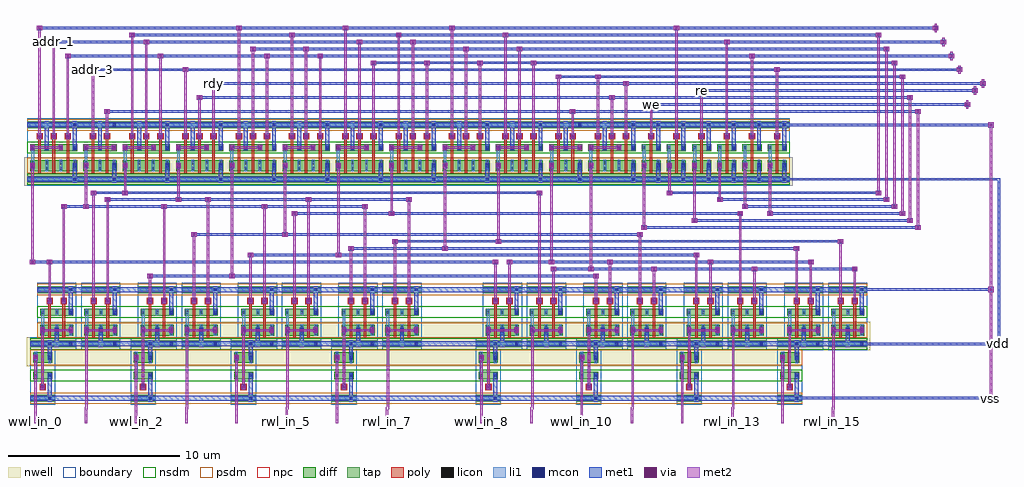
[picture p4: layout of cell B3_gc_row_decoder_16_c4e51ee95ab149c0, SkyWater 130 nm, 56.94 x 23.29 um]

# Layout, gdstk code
from math import pi, radians
import gdstk
lib = gdstk.Library(unit=1e-6, precision=1e-09)
def R(c, l, rs):  # rectangles x0, y0, x1, y1
    for r in rs: c.add(gdstk.rectangle(r[:2], r[2:], *l))
def A(c, l, x, y, w, h, nx, ny, dx, dy):  # array of equal rectangles
    R(c, l, [(x+i*dx, y+j*dy, x+i*dx+w, y+j*dy+h) for i in range(nx) for j in range(ny)])
nwell = (64, 20)
diff = (65, 20)
tap = (65, 44)
poly = (66, 20)
licon = (66, 44)
li1 = (67, 20)
mcon = (67, 44)
met1 = (68, 20)
via = (68, 44)
met2 = (69, 20)
nsdm = (93, 44)
psdm = (94, 20)
npc = (95, 20)
boundary = (235, 4)

b3_gc_std_inv_6575c8c08e = lib.new_cell('B3_gc_std_inv_6575c8c08eee_t_core')
R(b3_gc_std_inv_6575c8c08e, nwell, [(0,-0.18,1.68,1.29)])
R(b3_gc_std_inv_6575c8c08e, diff, [(0.86,0,1.5,1.11), (2.02,0,2.44,1.11)])
R(b3_gc_std_inv_6575c8c08e, tap, [(0.18,-0.18,0.59,1.29), (3.35,-0.18,3.76,1.29)])
R(b3_gc_std_inv_6575c8c08e, poly, [(2.73,0.39,3.06,0.72), (0.73,0.48,1.63,0.63), (0.86,0.48,2.895,0.63), (1.89,0.48,2.57,0.63)])
R(b3_gc_std_inv_6575c8c08e, licon, [(0.3,0.06,0.47,0.23), (0.925,0.06,1.095,0.23), (1.265,0.06,1.435,0.23), (2.145,0.06,2.315,0.23), (3.47,0.06,3.64,0.23), (2.81,0.47,2.98,0.64), (0.925,0.88,1.095,1.05), (1.265,0.88,1.435,1.05), (2.145,0.88,2.315,1.05)])
R(b3_gc_std_inv_6575c8c08e, li1, [(0.3,-0.18,0.47,1.29), (3.47,-0.18,3.64,1.29), (0.845,0.06,1.515,0.23), (2.065,0.06,2.395,0.23), (2.73,0.47,3.06,0.64), (2.73,0.47,3.06,0.64), (0.845,0.88,2.395,1.05), (0.845,0.88,1.515,1.05), (1.015,0.88,1.345,1.05), (2.065,0.88,2.395,1.05)])
R(b3_gc_std_inv_6575c8c08e, mcon, [(0.3,0.06,0.47,0.23), (1.095,0.06,1.265,0.23), (2.145,0.06,2.315,0.23), (3.47,0.06,3.64,0.23), (2.81,0.47,2.98,0.64), (1.095,0.88,1.265,1.05)])
R(b3_gc_std_inv_6575c8c08e, met1, [(0.24,-0.18,0.53,1.29), (3.41,-0.18,3.7,1.29), (0.24,0,0.53,0.29), (3.41,0,3.7,0.29), (0.18,0.03,1.325,0.26), (1.035,0.03,1.325,0.26), (2.085,0.03,3.76,0.26), (2.085,0.03,2.375,0.26), (2.735,0.425,3.055,0.685), (1.02,0.835,1.34,1.095)])
R(b3_gc_std_inv_6575c8c08e, via, [(2.82,0.48,2.97,0.63), (1.105,0.89,1.255,1.04)])
R(b3_gc_std_inv_6575c8c08e, met2, [(2.735,0.425,3.055,0.685), (1.02,0.835,1.34,1.095)])
R(b3_gc_std_inv_6575c8c08e, nsdm, [(0.055,-0.18,0.715,1.29), (1.895,-0.18,2.565,1.29)])
R(b3_gc_std_inv_6575c8c08e, psdm, [(0.735,-0.18,1.625,1.29), (3.225,-0.18,3.885,1.29)])
R(b3_gc_std_inv_6575c8c08e, npc, [(2.71,0.37,3.08,0.74)])
R(b3_gc_std_inv_6575c8c08e, boundary, [(0,-0.18,3.94,1.29)])
b3_gc_std_inv_6575c8c08e.add(gdstk.Label('vss', (3.555,0.145), layer=68, texttype=5))
b3_gc_std_inv_6575c8c08e.add(gdstk.Label('vdd', (0.385,0.145), layer=68, texttype=5))
b3_gc_std_inv_6575c8c08e.add(gdstk.Label('a', (2.895,0.555), layer=69, texttype=5))
b3_gc_std_inv_6575c8c08e.add(gdstk.Label('y', (1.18,0.965), layer=69, texttype=5))

c_b3_gc_std_inv_6575c8c08e = lib.new_cell('B3_gc_std_inv_6575c8c08eee_t')
c_b3_gc_std_inv_6575c8c08e.add(gdstk.Reference(b3_gc_std_inv_6575c8c08e, (1.29,0), rotation=pi/2))

b3_gc_std_nor2_6575c8c08 = lib.new_cell('B3_gc_std_nor2_6575c8c08eee_t_core')
R(b3_gc_std_nor2_6575c8c08, nwell, [(0,-0.18,1.68,2.11)])
R(b3_gc_std_nor2_6575c8c08, diff, [(0.86,0,1.5,1.93), (2.02,0,2.44,1.93)])
R(b3_gc_std_nor2_6575c8c08, tap, [(0.18,-0.18,0.59,2.11), (3.35,-0.18,3.76,2.11)])
R(b3_gc_std_nor2_6575c8c08, poly, [(2.73,0.39,3.06,0.72), (0.73,0.48,1.63,0.63), (0.86,0.48,2.895,0.63), (1.89,0.48,2.57,0.63), (2.73,1.21,3.06,1.54), (0.73,1.3,1.63,1.45), (0.86,1.3,2.895,1.45), (1.89,1.3,2.57,1.45)])
A(b3_gc_std_nor2_6575c8c08, licon, 0.925, 0.06, 0.17, 0.17, 1, 3, 0, 0.82)
A(b3_gc_std_nor2_6575c8c08, licon, 1.265, 0.06, 0.17, 0.17, 1, 3, 0, 0.82)
A(b3_gc_std_nor2_6575c8c08, licon, 2.145, 0.06, 0.17, 0.17, 1, 3, 0, 0.82)
R(b3_gc_std_nor2_6575c8c08, licon, [(0.3,0.06,0.47,0.23), (3.47,0.06,3.64,0.23), (2.81,0.47,2.98,0.64), (2.81,1.29,2.98,1.46)])
A(b3_gc_std_nor2_6575c8c08, li1, 0.845, 0.06, 0.67, 0.17, 1, 3, 0, 0.82)
A(b3_gc_std_nor2_6575c8c08, li1, 2.065, 0.06, 0.33, 0.17, 1, 3, 0, 0.82)
R(b3_gc_std_nor2_6575c8c08, li1, [(0.3,-0.18,0.47,2.11), (3.47,-0.18,3.64,2.11), (2.065,0.06,2.395,0.23), (2.73,0.47,3.06,0.64), (2.73,0.47,3.06,0.64), (2.73,1.29,3.06,1.46), (2.73,1.29,3.06,1.46), (0.845,1.7,2.395,1.87), (1.015,1.7,1.345,1.87), (2.065,1.7,2.395,1.87)])
A(b3_gc_std_nor2_6575c8c08, mcon, 2.145, 0.06, 0.17, 0.17, 1, 3, 0, 0.82)
R(b3_gc_std_nor2_6575c8c08, mcon, [(0.3,0.06,0.47,0.23), (1.095,0.06,1.265,0.23), (3.47,0.06,3.64,0.23), (2.81,0.47,2.98,0.64), (2.81,1.29,2.98,1.46), (1.095,1.7,1.265,1.87)])
R(b3_gc_std_nor2_6575c8c08, met1, [(0.24,-0.18,0.53,2.11), (3.41,-0.18,3.7,2.11), (0.24,0,0.53,0.29), (3.41,0,3.7,0.29), (2.07,0.015,2.39,0.275), (0.18,0.03,1.325,0.26), (1.035,0.03,1.325,0.26), (2.735,0.425,3.055,0.685), (2.085,0.85,3.76,1.08), (2.085,0.85,2.375,1.08), (2.735,1.245,3.055,1.505), (1.02,1.655,1.34,1.915), (2.07,1.655,2.39,1.915)])
R(b3_gc_std_nor2_6575c8c08, via, [(2.155,0.07,2.305,0.22), (2.82,0.48,2.97,0.63), (2.82,1.3,2.97,1.45), (1.105,1.71,1.255,1.86), (2.155,1.71,2.305,1.86)])
R(b3_gc_std_nor2_6575c8c08, met2, [(2.07,0.015,2.39,0.275), (2.16,0.145,2.3,1.785), (2.735,0.425,3.055,0.685), (2.735,1.245,3.055,1.505), (1.02,1.655,1.34,1.915), (2.07,1.655,2.39,1.915)])
R(b3_gc_std_nor2_6575c8c08, nsdm, [(0.055,-0.18,0.715,2.11), (1.895,-0.18,2.565,2.11)])
R(b3_gc_std_nor2_6575c8c08, psdm, [(0.735,-0.18,1.625,2.11), (3.225,-0.18,3.885,2.11)])
R(b3_gc_std_nor2_6575c8c08, npc, [(2.71,0.37,3.08,0.74), (2.71,1.19,3.08,1.56)])
R(b3_gc_std_nor2_6575c8c08, boundary, [(0,-0.18,3.94,2.11)])
b3_gc_std_nor2_6575c8c08.add(gdstk.Label('vss', (3.555,0.145), layer=68, texttype=5))
b3_gc_std_nor2_6575c8c08.add(gdstk.Label('vdd', (0.385,0.145), layer=68, texttype=5))
b3_gc_std_nor2_6575c8c08.add(gdstk.Label('a', (2.895,1.375), layer=69, texttype=5))
b3_gc_std_nor2_6575c8c08.add(gdstk.Label('b', (2.895,0.555), layer=69, texttype=5))
b3_gc_std_nor2_6575c8c08.add(gdstk.Label('y', (1.18,1.785), layer=69, texttype=5))

c_b3_gc_std_nor2_6575c8c08 = lib.new_cell('B3_gc_std_nor2_6575c8c08eee_t')
c_b3_gc_std_nor2_6575c8c08.add(gdstk.Reference(b3_gc_std_nor2_6575c8c08, (2.11,0), rotation=pi/2))

b3_gc_std_nor3_6575c8c08 = lib.new_cell('B3_gc_std_nor3_6575c8c08eee_t_core')
R(b3_gc_std_nor3_6575c8c08, nwell, [(0,-0.18,1.68,2.93)])
R(b3_gc_std_nor3_6575c8c08, diff, [(0.86,0,1.5,2.75), (2.02,0,2.44,2.75)])
R(b3_gc_std_nor3_6575c8c08, tap, [(0.18,-0.18,0.59,2.93), (3.35,-0.18,3.76,2.93)])
A(b3_gc_std_nor3_6575c8c08, poly, 2.73, 0.39, 0.33, 0.33, 1, 3, 0, 0.82)
A(b3_gc_std_nor3_6575c8c08, poly, 0.73, 0.48, 0.9, 0.15, 1, 3, 0, 0.82)
A(b3_gc_std_nor3_6575c8c08, poly, 0.86, 0.48, 2.035, 0.15, 1, 3, 0, 0.82)
A(b3_gc_std_nor3_6575c8c08, poly, 1.89, 0.48, 0.68, 0.15, 1, 3, 0, 0.82)
A(b3_gc_std_nor3_6575c8c08, licon, 0.925, 0.06, 0.17, 0.17, 1, 4, 0, 0.82)
A(b3_gc_std_nor3_6575c8c08, licon, 1.265, 0.06, 0.17, 0.17, 1, 4, 0, 0.82)
A(b3_gc_std_nor3_6575c8c08, licon, 2.145, 0.06, 0.17, 0.17, 1, 4, 0, 0.82)
A(b3_gc_std_nor3_6575c8c08, licon, 2.81, 0.47, 0.17, 0.17, 1, 3, 0, 0.82)
R(b3_gc_std_nor3_6575c8c08, licon, [(0.3,0.06,0.47,0.23), (3.47,0.06,3.64,0.23)])
A(b3_gc_std_nor3_6575c8c08, li1, 0.845, 0.06, 0.67, 0.17, 1, 4, 0, 0.82)
A(b3_gc_std_nor3_6575c8c08, li1, 2.065, 0.88, 0.33, 0.17, 1, 3, 0, 0.82)
R(b3_gc_std_nor3_6575c8c08, li1, [(0.3,-0.18,0.47,2.93), (3.47,-0.18,3.64,2.93), (2.065,0.06,2.395,0.23), (2.73,0.47,3.06,0.64), (2.73,0.47,3.06,0.64), (2.065,0.88,2.395,1.05), (2.73,1.29,3.06,1.46), (2.73,1.29,3.06,1.46), (2.73,2.11,3.06,2.28), (2.73,2.11,3.06,2.28), (0.845,2.52,2.395,2.69), (1.015,2.52,1.345,2.69), (2.065,2.52,2.395,2.69)])
A(b3_gc_std_nor3_6575c8c08, mcon, 2.145, 0.06, 0.17, 0.17, 1, 4, 0, 0.82)
A(b3_gc_std_nor3_6575c8c08, mcon, 2.81, 0.47, 0.17, 0.17, 1, 3, 0, 0.82)
R(b3_gc_std_nor3_6575c8c08, mcon, [(0.3,0.06,0.47,0.23), (1.095,0.06,1.265,0.23), (3.47,0.06,3.64,0.23), (1.095,2.52,1.265,2.69)])
A(b3_gc_std_nor3_6575c8c08, met1, 2.735, 0.425, 0.32, 0.26, 1, 3, 0, 0.82)
R(b3_gc_std_nor3_6575c8c08, met1, [(0.24,-0.18,0.53,2.93), (3.41,-0.18,3.7,2.93), (0.24,0,0.53,0.29), (3.41,0,3.7,0.29), (0.18,0.03,1.325,0.26), (1.035,0.03,1.325,0.26), (2.085,0.03,3.76,0.26), (2.085,0.03,2.375,0.26), (2.07,0.835,2.39,1.095), (2.085,1.67,3.76,1.9), (2.085,1.67,2.375,1.9), (1.02,2.475,1.34,2.735), (2.07,2.475,2.39,2.735)])
A(b3_gc_std_nor3_6575c8c08, via, 2.82, 0.48, 0.15, 0.15, 1, 3, 0, 0.82)
R(b3_gc_std_nor3_6575c8c08, via, [(2.155,0.89,2.305,1.04), (1.105,2.53,1.255,2.68), (2.155,2.53,2.305,2.68)])
A(b3_gc_std_nor3_6575c8c08, met2, 2.735, 0.425, 0.32, 0.26, 1, 3, 0, 0.82)
R(b3_gc_std_nor3_6575c8c08, met2, [(2.07,0.835,2.39,1.095), (2.16,0.965,2.3,2.605), (1.02,2.475,1.34,2.735), (2.07,2.475,2.39,2.735)])
R(b3_gc_std_nor3_6575c8c08, nsdm, [(0.055,-0.18,0.715,2.93), (1.895,-0.18,2.565,2.93)])
R(b3_gc_std_nor3_6575c8c08, psdm, [(0.735,-0.18,1.625,2.93), (3.225,-0.18,3.885,2.93)])
A(b3_gc_std_nor3_6575c8c08, npc, 2.71, 0.37, 0.37, 0.37, 1, 3, 0, 0.82)
R(b3_gc_std_nor3_6575c8c08, boundary, [(0,-0.18,3.94,2.93)])
b3_gc_std_nor3_6575c8c08.add(gdstk.Label('vss', (3.555,0.145), layer=68, texttype=5))
b3_gc_std_nor3_6575c8c08.add(gdstk.Label('vdd', (0.385,0.145), layer=68, texttype=5))
b3_gc_std_nor3_6575c8c08.add(gdstk.Label('a', (2.895,2.195), layer=69, texttype=5))
b3_gc_std_nor3_6575c8c08.add(gdstk.Label('c', (2.895,0.555), layer=69, texttype=5))
b3_gc_std_nor3_6575c8c08.add(gdstk.Label('b', (2.895,1.375), layer=69, texttype=5))
b3_gc_std_nor3_6575c8c08.add(gdstk.Label('y', (1.18,2.605), layer=69, texttype=5))

c_b3_gc_std_nor3_6575c8c08 = lib.new_cell('B3_gc_std_nor3_6575c8c08eee_t')
c_b3_gc_std_nor3_6575c8c08.add(gdstk.Reference(b3_gc_std_nor3_6575c8c08, (2.93,0), rotation=pi/2))

b3_gc_std_nand2_6575c8c0 = lib.new_cell('B3_gc_std_nand2_6575c8c08eee_t_core')
R(b3_gc_std_nand2_6575c8c0, nwell, [(0,-0.18,1.68,2.11)])
R(b3_gc_std_nand2_6575c8c0, diff, [(0.86,0,1.5,1.93), (2.02,0,2.44,1.93)])
R(b3_gc_std_nand2_6575c8c0, tap, [(0.18,-0.18,0.59,2.11), (3.35,-0.18,3.76,2.11)])
R(b3_gc_std_nand2_6575c8c0, poly, [(2.73,0.39,3.06,0.72), (0.73,0.48,1.63,0.63), (0.86,0.48,2.895,0.63), (1.89,0.48,2.57,0.63), (2.73,1.21,3.06,1.54), (0.73,1.3,1.63,1.45), (0.86,1.3,2.895,1.45), (1.89,1.3,2.57,1.45)])
A(b3_gc_std_nand2_6575c8c0, licon, 0.925, 0.06, 0.17, 0.17, 1, 3, 0, 0.82)
A(b3_gc_std_nand2_6575c8c0, licon, 1.265, 0.06, 0.17, 0.17, 1, 3, 0, 0.82)
A(b3_gc_std_nand2_6575c8c0, licon, 2.145, 0.06, 0.17, 0.17, 1, 3, 0, 0.82)
R(b3_gc_std_nand2_6575c8c0, licon, [(0.3,0.06,0.47,0.23), (3.47,0.06,3.64,0.23), (2.81,0.47,2.98,0.64), (2.81,1.29,2.98,1.46)])
A(b3_gc_std_nand2_6575c8c0, li1, 0.845, 0.06, 0.67, 0.17, 1, 3, 0, 0.82)
A(b3_gc_std_nand2_6575c8c0, li1, 2.065, 0.06, 0.33, 0.17, 1, 3, 0, 0.82)
R(b3_gc_std_nand2_6575c8c0, li1, [(0.3,-0.18,0.47,2.11), (3.47,-0.18,3.64,2.11), (1.015,0.06,1.345,0.23), (2.73,0.47,3.06,0.64), (2.73,0.47,3.06,0.64), (2.73,1.29,3.06,1.46), (2.73,1.29,3.06,1.46), (0.845,1.7,2.395,1.87), (1.015,1.7,1.345,1.87)])
A(b3_gc_std_nand2_6575c8c0, mcon, 1.095, 0.06, 0.17, 0.17, 1, 3, 0, 0.82)
R(b3_gc_std_nand2_6575c8c0, mcon, [(0.3,0.06,0.47,0.23), (2.145,0.06,2.315,0.23), (3.47,0.06,3.64,0.23), (2.81,0.47,2.98,0.64), (2.81,1.29,2.98,1.46)])
R(b3_gc_std_nand2_6575c8c0, met1, [(0.24,-0.18,0.53,2.11), (3.41,-0.18,3.7,2.11), (0.24,0,0.53,0.29), (3.41,0,3.7,0.29), (1.02,0.015,1.34,0.275), (2.085,0.03,3.76,0.26), (2.085,0.03,2.375,0.26), (2.735,0.425,3.055,0.685), (0.18,0.85,1.325,1.08), (1.035,0.85,1.325,1.08), (2.735,1.245,3.055,1.505), (1.02,1.655,1.34,1.915)])
R(b3_gc_std_nand2_6575c8c0, via, [(1.105,0.07,1.255,0.22), (2.82,0.48,2.97,0.63), (2.82,1.3,2.97,1.45), (1.105,1.71,1.255,1.86)])
R(b3_gc_std_nand2_6575c8c0, met2, [(1.02,0.015,1.34,0.275), (1.11,0.145,1.25,1.785), (2.735,0.425,3.055,0.685), (2.735,1.245,3.055,1.505), (1.02,1.655,1.34,1.915)])
R(b3_gc_std_nand2_6575c8c0, nsdm, [(0.055,-0.18,0.715,2.11), (1.895,-0.18,2.565,2.11)])
R(b3_gc_std_nand2_6575c8c0, psdm, [(0.735,-0.18,1.625,2.11), (3.225,-0.18,3.885,2.11)])
R(b3_gc_std_nand2_6575c8c0, npc, [(2.71,0.37,3.08,0.74), (2.71,1.19,3.08,1.56)])
R(b3_gc_std_nand2_6575c8c0, boundary, [(0,-0.18,3.94,2.11)])
b3_gc_std_nand2_6575c8c0.add(gdstk.Label('vss', (3.555,0.145), layer=68, texttype=5))
b3_gc_std_nand2_6575c8c0.add(gdstk.Label('vdd', (0.385,0.145), layer=68, texttype=5))
b3_gc_std_nand2_6575c8c0.add(gdstk.Label('a', (2.895,1.375), layer=69, texttype=5))
b3_gc_std_nand2_6575c8c0.add(gdstk.Label('b', (2.895,0.555), layer=69, texttype=5))
b3_gc_std_nand2_6575c8c0.add(gdstk.Label('y', (1.18,1.785), layer=69, texttype=5))

c_b3_gc_std_nand2_6575c8c0 = lib.new_cell('B3_gc_std_nand2_6575c8c08eee_t')
c_b3_gc_std_nand2_6575c8c0.add(gdstk.Reference(b3_gc_std_nand2_6575c8c0, (2.11,0), rotation=pi/2))

b3_gc_row_decoder_16_c4e = lib.new_cell('B3_gc_row_decoder_16_c4e51ee95ab149c0')
A(b3_gc_row_decoder_16_c4e, nwell, 1.645, 2.66, 4.39, 1.68, 3, 1, 5.86, 0)
A(b3_gc_row_decoder_16_c4e, nwell, 27.65, 2.66, 4.39, 1.68, 3, 1, 5.86, 0)
A(b3_gc_row_decoder_16_c4e, nwell, 2.875, 3.57, 0.275, 1.68, 4, 1, 5.86, 0)
A(b3_gc_row_decoder_16_c4e, nwell, 5.44, 3.57, 1.005, 1.68, 3, 1, 5.86, 0)
A(b3_gc_row_decoder_16_c4e, nwell, 28.88, 3.57, 0.275, 1.68, 4, 1, 5.86, 0)
A(b3_gc_row_decoder_16_c4e, nwell, 31.445, 3.57, 1.005, 1.68, 3, 1, 5.86, 0)
R(b3_gc_row_decoder_16_c4e, nwell, [(-0.005,2.66,0.175,4.34), (19.225,2.66,26.18,4.34), (23.02,3.57,26.59,5.25), (49.025,3.57,49.205,5.25), (-0.18,13.175,0,14.855), (44.5,13.175,44.68,14.855)])
A(b3_gc_row_decoder_16_c4e, met1, 1.545, 0.64, 4.59, 0.29, 3, 2, 5.86, 3.17)
A(b3_gc_row_decoder_16_c4e, met1, 27.55, 0.64, 4.59, 0.29, 3, 2, 5.86, 3.17)
A(b3_gc_row_decoder_16_c4e, met1, 2.775, 3.81, 0.475, 0.29, 4, 2, 5.86, 3.17)
A(b3_gc_row_decoder_16_c4e, met1, 5.34, 3.81, 1.205, 0.29, 3, 2, 5.86, 3.17)
A(b3_gc_row_decoder_16_c4e, met1, 28.78, 3.81, 0.475, 0.29, 4, 2, 5.86, 3.17)
A(b3_gc_row_decoder_16_c4e, met1, 31.345, 3.81, 1.205, 0.29, 3, 2, 5.86, 3.17)
A(b3_gc_row_decoder_16_c4e, met1, 36.41, 8.19, 0.32, 0.26, 3, 1, 5.86, 0)
A(b3_gc_row_decoder_16_c4e, met1, 33.845, 8.59, 0.32, 0.26, 3, 1, 5.86, 0)
A(b3_gc_row_decoder_16_c4e, met1, 7.84, 11.835, 0.32, 0.26, 3, 1, 5.86, 0)
A(b3_gc_row_decoder_16_c4e, met1, 10.405, 12.24, 0.32, 0.26, 3, 1, 5.86, 0)
A(b3_gc_row_decoder_16_c4e, met1, 20.055, 20.225, 0.32, 0.26, 4, 1, 3.11, 0)
A(b3_gc_row_decoder_16_c4e, met1, 15.305, 21.84, 0.32, 0.26, 3, 1, 6.22, 0)
A(b3_gc_row_decoder_16_c4e, met1, 12.195, 22.25, 0.32, 0.26, 3, 1, 6.22, 0)
R(b3_gc_row_decoder_16_c4e, met1, [(56.075,0.625,56.395,0.945), (19.125,0.64,26.28,0.93), (44.73,0.715,56.235,0.855), (19.125,3.81,26.28,4.1), (22.92,3.81,26.69,4.1), (44.73,3.885,56.765,4.025), (48.525,3.885,56.765,4.025), (56.625,3.885,56.765,13.63), (56.075,6.965,56.395,7.285), (22.92,6.98,26.69,7.27), (48.525,7.055,56.235,7.195), (7.02,7.785,7.34,8.045), (11.785,7.785,12.105,8.045), (33.025,7.785,33.345,8.045), (7.02,7.845,33.345,7.985), (30.55,8.19,30.87,8.45), (32.735,8.19,33.055,8.45), (30.55,8.25,48.45,8.39), (0.165,8.59,0.485,8.85), (1.16,8.59,1.48,8.85), (27.165,8.59,27.485,8.85), (27.985,8.59,28.305,8.85), (30.445,8.59,30.765,8.85), (0.165,8.65,27.485,8.79), (27.985,8.65,45.885,8.79), (12.88,9,13.2,9.26), (18.005,9,18.325,9.26), (38.885,9,39.205,9.26), (12.88,9.06,39.205,9.2), (18.74,9.4,19.06,9.66), (24.225,9.4,24.545,9.66), (44.745,9.4,45.065,9.66), (18.74,9.46,45.065,9.6), (21.305,9.81,21.625,10.07), (27.335,9.81,27.655,10.07), (47.31,9.81,47.63,10.07), (21.305,9.87,47.63,10.01), (9.585,10.21,9.905,10.47), (14.895,10.21,15.215,10.47), (35.59,10.21,35.91,10.47), (9.585,10.27,35.91,10.41), (35.845,10.62,36.165,10.88), (51.825,10.62,52.145,10.88), (35.845,10.68,52.145,10.82), (38.785,11.025,39.105,11.285), (51.365,11.025,51.685,11.285), (38.785,11.085,51.685,11.225), (15.445,11.43,15.765,11.69), (21.115,11.43,21.435,11.69), (41.45,11.43,41.77,11.69), (43.195,11.43,43.515,11.69), (50.905,11.43,51.225,11.69), (15.445,11.49,41.77,11.63), (43.195,11.49,51.225,11.63), (1.98,11.835,2.3,12.095), (3.275,11.835,3.595,12.095), (41.725,11.835,42.045,12.095), (50.445,11.835,50.765,12.095), (1.98,11.895,19.88,12.035), (41.725,11.895,50.765,12.035), (4.545,12.24,4.865,12.5), (8.675,12.24,8.995,12.5), (40.255,12.24,40.575,12.5), (49.985,12.24,50.305,12.5), (4.545,12.3,22.445,12.44), (40.255,12.3,50.305,12.44), (3.725,12.64,4.045,12.9), (5.565,12.64,5.885,12.9), (29.73,12.64,30.05,12.9), (37.315,12.64,37.635,12.9), (49.525,12.64,49.845,12.9), (3.725,12.7,30.05,12.84), (37.315,12.7,49.845,12.84), (44,13.49,56.765,13.63), (56.075,16.57,56.395,16.89), (44,16.66,56.235,16.8), (4.505,17.39,4.825,17.65), (31.675,17.39,31.995,17.65), (51.825,17.39,52.145,17.65), (4.505,17.45,52.145,17.59), (36.255,17.79,36.575,18.05), (54.695,17.79,55.015,18.05), (36.255,17.85,55.015,17.99), (9.905,18.2,10.225,18.46), (33.965,18.2,34.285,18.46), (51.365,18.2,51.685,18.46), (9.905,18.26,51.685,18.4), (39.195,18.605,39.515,18.865), (55.155,18.605,55.475,18.865), (39.195,18.665,55.475,18.805), (10.725,19.01,11.045,19.27), (34.785,19.01,35.105,19.27), (55.615,19.01,55.935,19.27), (10.725,19.07,55.935,19.21), (30.855,19.41,31.175,19.67), (33.145,19.41,33.465,19.67), (50.905,19.41,51.225,19.67), (30.855,19.47,51.225,19.61), (3.685,19.82,4.005,20.08), (9.085,19.82,9.405,20.08), (43.605,19.82,43.925,20.08), (54.235,19.82,54.555,20.08), (3.685,19.88,54.555,20.02), (50.445,20.225,50.765,20.485), (20.055,20.285,50.765,20.425), (2.215,20.63,2.535,20.89), (7.615,20.63,7.935,20.89), (13.835,20.63,14.155,20.89), (16.945,20.63,17.265,20.89), (42.135,20.63,42.455,20.89), (53.775,20.63,54.095,20.89), (2.215,20.69,54.095,20.83), (13.015,21.03,13.335,21.29), (16.125,21.03,16.445,21.29), (25.455,21.03,25.775,21.29), (28.565,21.03,28.885,21.29), (49.985,21.03,50.305,21.29), (13.015,21.09,50.305,21.23), (1.395,21.44,1.715,21.7), (6.795,21.44,7.115,21.7), (19.235,21.44,19.555,21.7), (22.345,21.44,22.665,21.7), (40.665,21.44,40.985,21.7), (53.315,21.44,53.635,21.7), (1.395,21.5,53.635,21.64), (5.975,21.84,6.295,22.1), (49.525,21.84,49.845,22.1), (5.975,21.9,49.845,22.04), (0.575,22.25,0.895,22.51), (37.725,22.25,38.045,22.51), (52.855,22.25,53.175,22.51), (0.575,22.31,53.175,22.45)])
A(b3_gc_row_decoder_16_c4e, via, 36.495, 8.245, 0.15, 0.15, 3, 1, 5.86, 0)
A(b3_gc_row_decoder_16_c4e, via, 33.93, 8.645, 0.15, 0.15, 3, 1, 5.86, 0)
A(b3_gc_row_decoder_16_c4e, via, 7.925, 11.89, 0.15, 0.15, 3, 1, 5.86, 0)
A(b3_gc_row_decoder_16_c4e, via, 10.49, 12.295, 0.15, 0.15, 3, 1, 5.86, 0)
A(b3_gc_row_decoder_16_c4e, via, 20.14, 20.28, 0.15, 0.15, 4, 1, 3.11, 0)
A(b3_gc_row_decoder_16_c4e, via, 15.39, 21.895, 0.15, 0.15, 3, 1, 6.22, 0)
A(b3_gc_row_decoder_16_c4e, via, 12.28, 22.305, 0.15, 0.15, 3, 1, 6.22, 0)
R(b3_gc_row_decoder_16_c4e, via, [(56.16,0.71,56.31,0.86), (56.16,7.05,56.31,7.2), (7.105,7.84,7.255,7.99), (11.87,7.84,12.02,7.99), (33.11,7.84,33.26,7.99), (30.635,8.245,30.785,8.395), (32.82,8.245,32.97,8.395), (0.25,8.645,0.4,8.795), (1.245,8.645,1.395,8.795), (27.25,8.645,27.4,8.795), (28.07,8.645,28.22,8.795), (30.53,8.645,30.68,8.795), (12.965,9.055,13.115,9.205), (18.09,9.055,18.24,9.205), (38.97,9.055,39.12,9.205), (18.825,9.455,18.975,9.605), (24.31,9.455,24.46,9.605), (44.83,9.455,44.98,9.605), (21.39,9.865,21.54,10.015), (27.42,9.865,27.57,10.015), (47.395,9.865,47.545,10.015), (9.67,10.265,9.82,10.415), (14.98,10.265,15.13,10.415), (35.675,10.265,35.825,10.415), (35.93,10.675,36.08,10.825), (51.91,10.675,52.06,10.825), (38.87,11.08,39.02,11.23), (51.45,11.08,51.6,11.23), (15.53,11.485,15.68,11.635), (21.2,11.485,21.35,11.635), (41.535,11.485,41.685,11.635), (43.28,11.485,43.43,11.635), (50.99,11.485,51.14,11.635), (2.065,11.89,2.215,12.04), (3.36,11.89,3.51,12.04), (41.81,11.89,41.96,12.04), (50.53,11.89,50.68,12.04), (4.63,12.295,4.78,12.445), (8.76,12.295,8.91,12.445), (40.34,12.295,40.49,12.445), (50.07,12.295,50.22,12.445), (3.81,12.695,3.96,12.845), (5.65,12.695,5.8,12.845), (29.815,12.695,29.965,12.845), (37.4,12.695,37.55,12.845), (49.61,12.695,49.76,12.845), (56.16,16.655,56.31,16.805), (4.59,17.445,4.74,17.595), (31.76,17.445,31.91,17.595), (51.91,17.445,52.06,17.595), (36.34,17.845,36.49,17.995), (54.78,17.845,54.93,17.995), (9.99,18.255,10.14,18.405), (34.05,18.255,34.2,18.405), (51.45,18.255,51.6,18.405), (39.28,18.66,39.43,18.81), (55.24,18.66,55.39,18.81), (10.81,19.065,10.96,19.215), (34.87,19.065,35.02,19.215), (55.7,19.065,55.85,19.215), (30.94,19.465,31.09,19.615), (33.23,19.465,33.38,19.615), (50.99,19.465,51.14,19.615), (3.77,19.875,3.92,20.025), (9.17,19.875,9.32,20.025), (43.69,19.875,43.84,20.025), (54.32,19.875,54.47,20.025), (50.53,20.28,50.68,20.43), (2.3,20.685,2.45,20.835), (7.7,20.685,7.85,20.835), (13.92,20.685,14.07,20.835), (17.03,20.685,17.18,20.835), (42.22,20.685,42.37,20.835), (53.86,20.685,54.01,20.835), (13.1,21.085,13.25,21.235), (16.21,21.085,16.36,21.235), (25.54,21.085,25.69,21.235), (28.65,21.085,28.8,21.235), (50.07,21.085,50.22,21.235), (1.48,21.495,1.63,21.645), (6.88,21.495,7.03,21.645), (19.32,21.495,19.47,21.645), (22.43,21.495,22.58,21.645), (40.75,21.495,40.9,21.645), (53.4,21.495,53.55,21.645), (6.06,21.895,6.21,22.045), (49.61,21.895,49.76,22.045), (0.66,22.305,0.81,22.455), (37.81,22.305,37.96,22.455), (52.94,22.305,53.09,22.455)])
A(b3_gc_row_decoder_16_c4e, met2, 0.43, -0.67, 0.14, 3.9, 4, 1, 5.86, 0)
A(b3_gc_row_decoder_16_c4e, met2, 3.36, -0.67, 0.14, 0.94, 4, 1, 5.86, 0)
A(b3_gc_row_decoder_16_c4e, met2, 26.435, -0.67, 0.14, 3.9, 4, 1, 5.86, 0)
A(b3_gc_row_decoder_16_c4e, met2, 29.365, -0.67, 0.14, 0.94, 4, 1, 5.86, 0)
A(b3_gc_row_decoder_16_c4e, met2, 3.36, 0.13, 0.185, 0.14, 4, 1, 5.86, 0)
A(b3_gc_row_decoder_16_c4e, met2, 3.405, 0.13, 0.14, 4.69, 4, 1, 5.86, 0)
A(b3_gc_row_decoder_16_c4e, met2, 29.365, 0.13, 0.185, 0.14, 4, 1, 5.86, 0)
A(b3_gc_row_decoder_16_c4e, met2, 29.41, 0.13, 0.14, 4.69, 4, 1, 5.86, 0)
A(b3_gc_row_decoder_16_c4e, met2, 0.84, 1.375, 0.14, 3.445, 4, 1, 5.86, 0)
A(b3_gc_row_decoder_16_c4e, met2, 26.845, 1.375, 0.14, 3.445, 4, 1, 5.86, 0)
A(b3_gc_row_decoder_16_c4e, met2, 2.07, 6.465, 0.14, 5.5, 4, 1, 5.86, 0)
A(b3_gc_row_decoder_16_c4e, met2, 4.635, 6.465, 0.14, 5.905, 4, 1, 5.86, 0)
A(b3_gc_row_decoder_16_c4e, met2, 28.075, 6.465, 0.14, 2.255, 4, 1, 5.86, 0)
A(b3_gc_row_decoder_16_c4e, met2, 30.64, 6.465, 0.14, 1.855, 4, 1, 5.86, 0)
A(b3_gc_row_decoder_16_c4e, met2, 36.41, 8.19, 0.32, 0.26, 3, 1, 5.86, 0)
A(b3_gc_row_decoder_16_c4e, met2, 33.845, 8.59, 0.32, 0.26, 3, 1, 5.86, 0)
A(b3_gc_row_decoder_16_c4e, met2, 7.84, 11.835, 0.32, 0.26, 3, 1, 5.86, 0)
A(b3_gc_row_decoder_16_c4e, met2, 10.405, 12.24, 0.32, 0.26, 3, 1, 5.86, 0)
A(b3_gc_row_decoder_16_c4e, met2, 12.285, 16.07, 0.14, 6.31, 3, 1, 6.22, 0)
A(b3_gc_row_decoder_16_c4e, met2, 15.395, 16.07, 0.14, 5.9, 3, 1, 6.22, 0)
A(b3_gc_row_decoder_16_c4e, met2, 20.145, 16.07, 0.14, 4.285, 4, 1, 3.11, 0)
A(b3_gc_row_decoder_16_c4e, met2, 20.055, 20.225, 0.32, 0.26, 4, 1, 3.11, 0)
A(b3_gc_row_decoder_16_c4e, met2, 15.305, 21.84, 0.32, 0.26, 3, 1, 6.22, 0)
A(b3_gc_row_decoder_16_c4e, met2, 12.195, 22.25, 0.32, 0.26, 3, 1, 6.22, 0)
R(b3_gc_row_decoder_16_c4e, met2, [(56.075,0.625,56.395,0.945), (56.165,0.785,56.305,16.73), (1.25,6.465,1.39,8.72), (3.815,6.465,3.955,12.77), (7.11,6.465,7.25,7.915), (9.675,6.465,9.815,10.34), (12.97,6.465,13.11,9.13), (15.535,6.465,15.675,11.56), (18.83,6.465,18.97,9.53), (21.395,6.465,21.535,9.94), (27.255,6.465,27.395,8.72), (29.82,6.465,29.96,12.77), (33.115,6.465,33.255,7.915), (35.68,6.465,35.82,10.34), (38.975,6.465,39.115,9.13), (41.54,6.465,41.68,11.56), (44.835,6.465,44.975,9.53), (47.4,6.465,47.54,9.94), (56.075,6.965,56.395,7.285), (7.02,7.785,7.34,8.045), (11.785,7.785,12.105,8.045), (33.025,7.785,33.345,8.045), (11.875,7.915,12.015,14.355), (30.55,8.19,30.87,8.45), (32.735,8.19,33.055,8.45), (32.825,8.32,32.965,14.355), (0.165,8.59,0.485,8.85), (1.16,8.59,1.48,8.85), (27.165,8.59,27.485,8.85), (27.985,8.59,28.305,8.85), (30.445,8.59,30.765,8.85), (0.255,8.72,0.395,14.355), (30.535,8.72,30.675,14.355), (12.88,9,13.2,9.26), (18.005,9,18.325,9.26), (38.885,9,39.205,9.26), (18.095,9.13,18.235,14.355), (18.74,9.4,19.06,9.66), (24.225,9.4,24.545,9.66), (44.745,9.4,45.065,9.66), (24.315,9.53,24.455,14.355), (21.305,9.81,21.625,10.07), (27.335,9.81,27.655,10.07), (47.31,9.81,47.63,10.07), (27.425,9.94,27.565,14.355), (9.585,10.21,9.905,10.47), (14.895,10.21,15.215,10.47), (35.59,10.21,35.91,10.47), (14.985,10.34,15.125,14.355), (35.845,10.62,36.165,10.88), (51.825,10.62,52.145,10.88), (35.935,10.75,36.075,14.355), (51.915,10.75,52.055,17.52), (38.785,11.025,39.105,11.285), (51.365,11.025,51.685,11.285), (38.875,11.155,39.015,14.355), (51.455,11.155,51.595,18.33), (15.445,11.43,15.765,11.69), (21.115,11.43,21.435,11.69), (41.45,11.43,41.77,11.69), (43.195,11.43,43.515,11.69), (50.905,11.43,51.225,11.69), (21.205,11.56,21.345,14.355), (43.285,11.56,43.425,14.355), (50.995,11.56,51.135,19.54), (1.98,11.835,2.3,12.095), (3.275,11.835,3.595,12.095), (41.725,11.835,42.045,12.095), (50.445,11.835,50.765,12.095), (3.365,11.965,3.505,14.355), (41.815,11.965,41.955,14.355), (50.535,11.965,50.675,20.355), (4.545,12.24,4.865,12.5), (8.675,12.24,8.995,12.5), (40.255,12.24,40.575,12.5), (49.985,12.24,50.305,12.5), (8.765,12.37,8.905,14.355), (40.345,12.37,40.485,14.355), (50.075,12.37,50.215,21.16), (3.725,12.64,4.045,12.9), (5.565,12.64,5.885,12.9), (29.73,12.64,30.05,12.9), (37.315,12.64,37.635,12.9), (49.525,12.64,49.845,12.9), (5.655,12.77,5.795,14.355), (37.405,12.77,37.545,14.355), (49.615,12.77,49.755,21.97), (0.665,16.07,0.805,22.38), (1.485,16.07,1.625,21.57), (2.305,16.07,2.445,20.76), (3.775,16.07,3.915,19.95), (4.595,16.07,4.735,17.52), (6.065,16.07,6.205,21.97), (6.885,16.07,7.025,21.57), (7.705,16.07,7.845,20.76), (9.175,16.07,9.315,19.95), (9.995,16.07,10.135,18.33), (10.815,16.07,10.955,19.14), (13.105,16.07,13.245,21.16), (13.925,16.07,14.065,20.76), (16.215,16.07,16.355,21.16), (17.035,16.07,17.175,20.76), (19.325,16.07,19.465,21.57), (22.435,16.07,22.575,21.57), (25.545,16.07,25.685,21.16), (28.655,16.07,28.795,21.16), (30.945,16.07,31.085,19.54), (31.765,16.07,31.905,17.52), (33.235,16.07,33.375,19.54), (34.055,16.07,34.195,18.33), (34.875,16.07,35.015,19.14), (36.345,16.07,36.485,17.92), (37.815,16.07,37.955,22.38), (39.285,16.07,39.425,18.735), (40.755,16.07,40.895,21.57), (42.225,16.07,42.365,20.76), (43.695,16.07,43.835,19.95), (56.075,16.57,56.395,16.89), (4.505,17.39,4.825,17.65), (31.675,17.39,31.995,17.65), (51.825,17.39,52.145,17.65), (54.785,17.675,54.925,18.165), (36.255,17.79,36.575,18.05), (54.695,17.79,55.015,18.05), (9.905,18.2,10.225,18.46), (33.965,18.2,34.285,18.46), (51.365,18.2,51.685,18.46), (55.245,18.49,55.385,18.98), (39.195,18.605,39.515,18.865), (55.155,18.605,55.475,18.865), (55.705,18.895,55.845,19.385), (10.725,19.01,11.045,19.27), (34.785,19.01,35.105,19.27), (55.615,19.01,55.935,19.27), (30.855,19.41,31.175,19.67), (33.145,19.41,33.465,19.67), (50.905,19.41,51.225,19.67), (54.325,19.705,54.465,20.195), (3.685,19.82,4.005,20.08), (9.085,19.82,9.405,20.08), (43.605,19.82,43.925,20.08), (54.235,19.82,54.555,20.08), (50.445,20.225,50.765,20.485), (53.865,20.515,54.005,21.005), (2.215,20.63,2.535,20.89), (7.615,20.63,7.935,20.89), (13.835,20.63,14.155,20.89), (16.945,20.63,17.265,20.89), (42.135,20.63,42.455,20.89), (53.775,20.63,54.095,20.89), (13.015,21.03,13.335,21.29), (16.125,21.03,16.445,21.29), (25.455,21.03,25.775,21.29), (28.565,21.03,28.885,21.29), (49.985,21.03,50.305,21.29), (53.405,21.325,53.545,21.815), (1.395,21.44,1.715,21.7), (6.795,21.44,7.115,21.7), (19.235,21.44,19.555,21.7), (22.345,21.44,22.665,21.7), (40.665,21.44,40.985,21.7), (53.315,21.44,53.635,21.7), (5.975,21.84,6.295,22.1), (49.525,21.84,49.845,22.1), (52.945,22.135,53.085,22.625), (0.575,22.25,0.895,22.51), (37.725,22.25,38.045,22.51), (52.855,22.25,53.175,22.51)])
A(b3_gc_row_decoder_16_c4e, nsdm, 1.645, 1.775, 4.39, 0.67, 3, 1, 5.86, 0)
A(b3_gc_row_decoder_16_c4e, nsdm, 27.65, 1.775, 4.39, 0.67, 3, 1, 5.86, 0)
A(b3_gc_row_decoder_16_c4e, nsdm, 1.645, 3.625, 4.39, 0.66, 3, 1, 5.86, 0)
A(b3_gc_row_decoder_16_c4e, nsdm, 2.875, 3.625, 0.275, 0.66, 4, 1, 5.86, 0)
A(b3_gc_row_decoder_16_c4e, nsdm, 5.44, 3.625, 1.005, 0.66, 3, 1, 5.86, 0)
A(b3_gc_row_decoder_16_c4e, nsdm, 27.65, 3.625, 4.39, 0.66, 3, 1, 5.86, 0)
A(b3_gc_row_decoder_16_c4e, nsdm, 28.88, 3.625, 0.275, 0.66, 4, 1, 5.86, 0)
A(b3_gc_row_decoder_16_c4e, nsdm, 31.445, 3.625, 1.005, 0.66, 3, 1, 5.86, 0)
A(b3_gc_row_decoder_16_c4e, nsdm, 2.875, 5.465, 0.275, 0.67, 4, 1, 5.86, 0)
A(b3_gc_row_decoder_16_c4e, nsdm, 5.44, 5.465, 1.005, 0.67, 3, 1, 5.86, 0)
A(b3_gc_row_decoder_16_c4e, nsdm, 28.88, 5.465, 0.275, 0.67, 4, 1, 5.86, 0)
A(b3_gc_row_decoder_16_c4e, nsdm, 31.445, 5.465, 1.005, 0.67, 3, 1, 5.86, 0)
R(b3_gc_row_decoder_16_c4e, nsdm, [(19.225,1.775,26.18,2.445), (19.225,3.625,26.18,4.285), (23.02,3.625,26.59,4.285), (23.02,5.465,26.59,6.135)])
A(b3_gc_row_decoder_16_c4e, psdm, 1.645, 0.455, 4.39, 0.66, 3, 1, 5.86, 0)
A(b3_gc_row_decoder_16_c4e, psdm, 27.65, 0.455, 4.39, 0.66, 3, 1, 5.86, 0)
A(b3_gc_row_decoder_16_c4e, psdm, 1.645, 2.715, 4.39, 0.89, 3, 1, 5.86, 0)
A(b3_gc_row_decoder_16_c4e, psdm, 27.65, 2.715, 4.39, 0.89, 3, 1, 5.86, 0)
A(b3_gc_row_decoder_16_c4e, psdm, 2.875, 4.305, 0.275, 0.89, 4, 1, 5.86, 0)
A(b3_gc_row_decoder_16_c4e, psdm, 5.44, 4.305, 1.005, 0.89, 3, 1, 5.86, 0)
A(b3_gc_row_decoder_16_c4e, psdm, 28.88, 4.305, 0.275, 0.89, 4, 1, 5.86, 0)
A(b3_gc_row_decoder_16_c4e, psdm, 31.445, 4.305, 1.005, 0.89, 3, 1, 5.86, 0)
A(b3_gc_row_decoder_16_c4e, psdm, 2.875, 6.795, 0.275, 0.66, 4, 1, 5.86, 0)
A(b3_gc_row_decoder_16_c4e, psdm, 5.44, 6.795, 1.005, 0.66, 3, 1, 5.86, 0)
A(b3_gc_row_decoder_16_c4e, psdm, 28.88, 6.795, 0.275, 0.66, 4, 1, 5.86, 0)
A(b3_gc_row_decoder_16_c4e, psdm, 31.445, 6.795, 1.005, 0.66, 3, 1, 5.86, 0)
R(b3_gc_row_decoder_16_c4e, psdm, [(19.225,0.455,26.18,1.115), (19.225,2.715,26.18,3.605), (23.02,4.305,26.59,5.195), (23.02,6.795,26.59,7.455)])
b3_gc_row_decoder_16_c4e.add(gdstk.Reference(c_b3_gc_std_inv_6575c8c08e, (35.68,13.175)))
b3_gc_row_decoder_16_c4e.add(gdstk.Reference(c_b3_gc_std_inv_6575c8c08e, (37.15,13.175)))
b3_gc_row_decoder_16_c4e.add(gdstk.Reference(c_b3_gc_std_inv_6575c8c08e, (38.62,13.175)))
b3_gc_row_decoder_16_c4e.add(gdstk.Reference(c_b3_gc_std_inv_6575c8c08e, (40.09,13.175)))
b3_gc_row_decoder_16_c4e.add(gdstk.Reference(c_b3_gc_std_inv_6575c8c08e, (41.56,13.175)))
b3_gc_row_decoder_16_c4e.add(gdstk.Reference(c_b3_gc_std_inv_6575c8c08e, (43.03,13.175)))
b3_gc_row_decoder_16_c4e.add(gdstk.Reference(c_b3_gc_std_nor2_6575c8c08, (3.11,13.175)))
b3_gc_row_decoder_16_c4e.add(gdstk.Reference(c_b3_gc_std_nor2_6575c8c08, (30.28,13.175)))
b3_gc_row_decoder_16_c4e.add(gdstk.Reference(c_b3_gc_std_nor3_6575c8c08, (0,13.175)))
b3_gc_row_decoder_16_c4e.add(gdstk.Reference(c_b3_gc_std_nor3_6575c8c08, (5.4,13.175)))
b3_gc_row_decoder_16_c4e.add(gdstk.Reference(c_b3_gc_std_nor3_6575c8c08, (8.51,13.175)))
b3_gc_row_decoder_16_c4e.add(gdstk.Reference(c_b3_gc_std_nor3_6575c8c08, (11.62,13.175)))
b3_gc_row_decoder_16_c4e.add(gdstk.Reference(c_b3_gc_std_nor3_6575c8c08, (14.73,13.175)))
b3_gc_row_decoder_16_c4e.add(gdstk.Reference(c_b3_gc_std_nor3_6575c8c08, (17.84,13.175)))
b3_gc_row_decoder_16_c4e.add(gdstk.Reference(c_b3_gc_std_nor3_6575c8c08, (20.95,13.175)))
b3_gc_row_decoder_16_c4e.add(gdstk.Reference(c_b3_gc_std_nor3_6575c8c08, (24.06,13.175)))
b3_gc_row_decoder_16_c4e.add(gdstk.Reference(c_b3_gc_std_nor3_6575c8c08, (27.17,13.175)))
b3_gc_row_decoder_16_c4e.add(gdstk.Reference(c_b3_gc_std_nor3_6575c8c08, (32.57,13.175)))
b3_gc_row_decoder_16_c4e.add(gdstk.Reference(c_b3_gc_std_nand2_6575c8c0, (0.585,3.57)))
b3_gc_row_decoder_16_c4e.add(gdstk.Reference(c_b3_gc_std_nand2_6575c8c0, (3.15,3.57)))
b3_gc_row_decoder_16_c4e.add(gdstk.Reference(c_b3_gc_std_nand2_6575c8c0, (6.445,3.57)))
b3_gc_row_decoder_16_c4e.add(gdstk.Reference(c_b3_gc_std_nand2_6575c8c0, (9.01,3.57)))
b3_gc_row_decoder_16_c4e.add(gdstk.Reference(c_b3_gc_std_nand2_6575c8c0, (12.305,3.57)))
b3_gc_row_decoder_16_c4e.add(gdstk.Reference(c_b3_gc_std_nand2_6575c8c0, (14.87,3.57)))
b3_gc_row_decoder_16_c4e.add(gdstk.Reference(c_b3_gc_std_nand2_6575c8c0, (18.165,3.57)))
b3_gc_row_decoder_16_c4e.add(gdstk.Reference(c_b3_gc_std_nand2_6575c8c0, (20.73,3.57)))
b3_gc_row_decoder_16_c4e.add(gdstk.Reference(c_b3_gc_std_nand2_6575c8c0, (26.59,3.57)))
b3_gc_row_decoder_16_c4e.add(gdstk.Reference(c_b3_gc_std_nand2_6575c8c0, (29.155,3.57)))
b3_gc_row_decoder_16_c4e.add(gdstk.Reference(c_b3_gc_std_nand2_6575c8c0, (32.45,3.57)))
b3_gc_row_decoder_16_c4e.add(gdstk.Reference(c_b3_gc_std_nand2_6575c8c0, (35.015,3.57)))
b3_gc_row_decoder_16_c4e.add(gdstk.Reference(c_b3_gc_std_nand2_6575c8c0, (38.31,3.57)))
b3_gc_row_decoder_16_c4e.add(gdstk.Reference(c_b3_gc_std_nand2_6575c8c0, (40.875,3.57)))
b3_gc_row_decoder_16_c4e.add(gdstk.Reference(c_b3_gc_std_nand2_6575c8c0, (44.17,3.57)))
b3_gc_row_decoder_16_c4e.add(gdstk.Reference(c_b3_gc_std_nand2_6575c8c0, (46.735,3.57)))
b3_gc_row_decoder_16_c4e.add(gdstk.Reference(c_b3_gc_std_inv_6575c8c08e, (0.175,4.34), x_reflection=True))
b3_gc_row_decoder_16_c4e.add(gdstk.Reference(c_b3_gc_std_inv_6575c8c08e, (6.035,4.34), x_reflection=True))
b3_gc_row_decoder_16_c4e.add(gdstk.Reference(c_b3_gc_std_inv_6575c8c08e, (11.895,4.34), x_reflection=True))
b3_gc_row_decoder_16_c4e.add(gdstk.Reference(c_b3_gc_std_inv_6575c8c08e, (17.755,4.34), x_reflection=True))
b3_gc_row_decoder_16_c4e.add(gdstk.Reference(c_b3_gc_std_inv_6575c8c08e, (26.18,4.34), x_reflection=True))
b3_gc_row_decoder_16_c4e.add(gdstk.Reference(c_b3_gc_std_inv_6575c8c08e, (32.04,4.34), x_reflection=True))
b3_gc_row_decoder_16_c4e.add(gdstk.Reference(c_b3_gc_std_inv_6575c8c08e, (37.9,4.34), x_reflection=True))
b3_gc_row_decoder_16_c4e.add(gdstk.Reference(c_b3_gc_std_inv_6575c8c08e, (43.76,4.34), x_reflection=True))
b3_gc_row_decoder_16_c4e.add(gdstk.Label('rdy', (10.885,19.14), layer=68, texttype=5))
b3_gc_row_decoder_16_c4e.add(gdstk.Label('we', (36.415,17.92), layer=68, texttype=5))
b3_gc_row_decoder_16_c4e.add(gdstk.Label('addr_3', (3.845,19.95), layer=68, texttype=5))
b3_gc_row_decoder_16_c4e.add(gdstk.Label('addr_2', (2.375,20.76), layer=68, texttype=5))
b3_gc_row_decoder_16_c4e.add(gdstk.Label('addr_1', (1.555,21.57), layer=68, texttype=5))
b3_gc_row_decoder_16_c4e.add(gdstk.Label('re', (39.355,18.735), layer=68, texttype=5))
b3_gc_row_decoder_16_c4e.add(gdstk.Label('addr_0', (0.735,22.38), layer=68, texttype=5))
b3_gc_row_decoder_16_c4e.add(gdstk.Label('vdd', (56.695,3.955), layer=68, texttype=5))
b3_gc_row_decoder_16_c4e.add(gdstk.Label('rwl_in_13', (41.155,-0.6), layer=69, texttype=5))
b3_gc_row_decoder_16_c4e.add(gdstk.Label('wwl_in_12', (38.225,-0.6), layer=69, texttype=5))
b3_gc_row_decoder_16_c4e.add(gdstk.Label('wwl_in_0', (0.5,-0.6), layer=69, texttype=5))
b3_gc_row_decoder_16_c4e.add(gdstk.Label('rwl_in_1', (3.43,-0.6), layer=69, texttype=5))
b3_gc_row_decoder_16_c4e.add(gdstk.Label('rwl_in_5', (15.15,-0.6), layer=69, texttype=5))
b3_gc_row_decoder_16_c4e.add(gdstk.Label('rwl_in_15', (47.015,-0.6), layer=69, texttype=5))
b3_gc_row_decoder_16_c4e.add(gdstk.Label('rwl_in_7', (21.01,-0.6), layer=69, texttype=5))
b3_gc_row_decoder_16_c4e.add(gdstk.Label('wwl_in_2', (6.36,-0.6), layer=69, texttype=5))
b3_gc_row_decoder_16_c4e.add(gdstk.Label('wwl_in_14', (44.085,-0.6), layer=69, texttype=5))
b3_gc_row_decoder_16_c4e.add(gdstk.Label('rwl_in_3', (9.29,-0.6), layer=69, texttype=5))
b3_gc_row_decoder_16_c4e.add(gdstk.Label('vss', (56.235,0.785), layer=69, texttype=5))
b3_gc_row_decoder_16_c4e.add(gdstk.Label('wwl_in_10', (32.365,-0.6), layer=69, texttype=5))
b3_gc_row_decoder_16_c4e.add(gdstk.Label('wwl_in_6', (18.08,-0.6), layer=69, texttype=5))
b3_gc_row_decoder_16_c4e.add(gdstk.Label('rwl_in_9', (29.435,-0.6), layer=69, texttype=5))
b3_gc_row_decoder_16_c4e.add(gdstk.Label('wwl_in_4', (12.22,-0.6), layer=69, texttype=5))
b3_gc_row_decoder_16_c4e.add(gdstk.Label('wwl_in_8', (26.505,-0.6), layer=69, texttype=5))
b3_gc_row_decoder_16_c4e.add(gdstk.Label('rwl_in_11', (35.295,-0.6), layer=69, texttype=5))

lib.write_gds('B3_gc_row_decoder_16_c4e51ee95ab149c0.gds')
